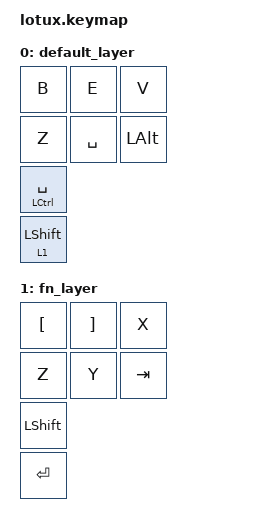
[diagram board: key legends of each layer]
/ {
    keymap {
        compatible = "zmk,keymap";

        default_layer {
            bindings = <
                // Matrix (row 0)
                &kp B      &kp E      &kp V

                // Matrix (row 1)
                &kp Z      &kp SPACE  &kp LALT

                // Direct keys
                &mt LCTRL SPACE
                &lt 1 LSHIFT
            >;
        };

        fn_layer {
            bindings = <
                &kp LBKT   &kp RBKT   &kp X
                &kp Z      &kp Y      &kp TAB
                &kp LSHIFT
                &kp ENTER
            >;
        };
    };
};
